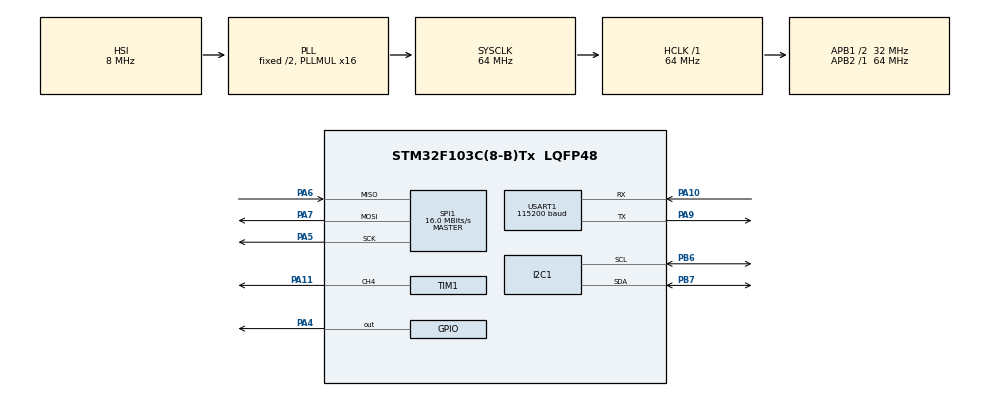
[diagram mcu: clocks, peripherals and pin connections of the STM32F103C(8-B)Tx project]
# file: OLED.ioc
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Dma.Request0=SPI1_RX
Dma.Request1=SPI1_TX
Dma.SPI1_RX.0.Direction=DMA_PERIPH_TO_MEMORY
Dma.SPI1_RX.0.Instance=DMA1_Channel2
Dma.SPI1_RX.0.MemDataAlignment=DMA_MDATAALIGN_BYTE
Dma.SPI1_RX.0.MemInc=DMA_MINC_ENABLE
Dma.SPI1_RX.0.Mode=DMA_NORMAL
Dma.SPI1_RX.0.PeriphDataAlignment=DMA_PDATAALIGN_BYTE
Dma.SPI1_RX.0.PeriphInc=DMA_PINC_DISABLE
Dma.SPI1_RX.0.Priority=DMA_PRIORITY_MEDIUM
Dma.SPI1_TX.1.Direction=DMA_MEMORY_TO_PERIPH
Dma.SPI1_TX.1.Instance=DMA1_Channel3
Dma.SPI1_TX.1.MemDataAlignment=DMA_MDATAALIGN_BYTE
Dma.SPI1_TX.1.MemInc=DMA_MINC_ENABLE
Dma.SPI1_TX.1.Mode=DMA_NORMAL
Dma.SPI1_TX.1.PeriphDataAlignment=DMA_PDATAALIGN_BYTE
Dma.SPI1_TX.1.PeriphInc=DMA_PINC_DISABLE
Dma.SPI1_TX.1.Priority=DMA_PRIORITY_MEDIUM
I2C1.I2C_Mode=I2C_Fast
Mcu.Family=STM32F1
Mcu.Name=STM32F103C(8-B)Tx
Mcu.Package=LQFP48
NVIC.DMA1_Channel2_IRQn=true\:1\:0\:true\:false\:true\:false\:true\:true
NVIC.DMA1_Channel3_IRQn=true\:1\:0\:true\:false\:true\:false\:true\:true
NVIC.PriorityGroup=NVIC_PRIORITYGROUP_4
NVIC.SPI1_IRQn=true\:1\:0\:true\:false\:true\:true\:true\:true
PA10.Mode=Asynchronous
PA10.Signal=USART1_RX
PA11.Signal=S_TIM1_CH4
PA13.Mode=Serial_Wire
PA13.Signal=SYS_JTMS-SWDIO
PA14.Mode=Serial_Wire
PA14.Signal=SYS_JTCK-SWCLK
PA4.GPIO_Speed=GPIO_SPEED_FREQ_HIGH
PA4.PinState=GPIO_PIN_SET
PA4.Signal=GPIO_Output
PA5.Mode=Full_Duplex_Master
PA5.Signal=SPI1_SCK
PA6.GPIO_PuPd=GPIO_PULLUP
PA6.Mode=Full_Duplex_Master
PA6.Signal=SPI1_MISO
PA7.Mode=Full_Duplex_Master
PA7.Signal=SPI1_MOSI
PA9.Mode=Asynchronous
PA9.Signal=USART1_TX
PB6.Mode=I2C
PB6.Signal=I2C1_SCL
PB7.Mode=I2C
PB7.Signal=I2C1_SDA
ProjectManager.HeapSize=0x200
ProjectManager.StackSize=0x400
ProjectManager.TargetToolchain=CMake
RCC.AHBFreq_Value=64000000
RCC.APB1CLKDivider=RCC_HCLK_DIV2
RCC.APB1Freq_Value=32000000
RCC.APB1TimFreq_Value=64000000
RCC.APB2Freq_Value=64000000
RCC.APB2TimFreq_Value=64000000
RCC.HCLKFreq_Value=64000000
RCC.PLLMUL=RCC_PLL_MUL16
RCC.SYSCLKFreq_VALUE=64000000
RCC.SYSCLKSource=RCC_SYSCLKSOURCE_PLLCLK
RCC.USBFreq_Value=64000000
SH.S_TIM1_CH4.0=TIM1_CH4,PWM Generation4 CH4
SPI1.BaudRatePrescaler=SPI_BAUDRATEPRESCALER_4
SPI1.CalculateBaudRate=16.0 MBits/s
SPI1.Direction=SPI_DIRECTION_2LINES
SPI1.Mode=SPI_MODE_MASTER
SPI1.VirtualType=VM_MASTER
TIM1.Channel-PWM\ Generation4\ CH4=TIM_CHANNEL_4
TIM1.Prescaler=63
USART1.BaudRate=115200
USART1.Mode=MODE_TX_RX
USART1.VirtualMode=VM_ASYNC
USART1.VirtualMode-Asynchronous=VM_ASYNC
VP_TIM1_VS_ClockSourceINT.Mode=Internal
board=custom

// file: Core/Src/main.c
/* USER CODE BEGIN Header */
/**
  ******************************************************************************
  * @file           : main.c
  * @brief          : Main program body
  ******************************************************************************
  * @attention
  *
  * Copyright (c) 2026 STMicroelectronics.
  * All rights reserved.
  *
  * This software is licensed under terms that can be found in the LICENSE file
  * in the root directory of this software component.
  * If no LICENSE file comes with this software, it is provided AS-IS.
  *
  ******************************************************************************
  */
/* USER CODE END Header */
#include "main.h"
#include "dma.h"
#include "i2c.h"
#include "spi.h"
#include "tim.h"
#include "usart.h"
#include "gpio.h"

/* USER CODE BEGIN Includes */
#include <stdbool.h>
#include <string.h>
#include "ssd1306.h"
#include "ssd1306_fonts.h"
#include "spif.h"
/* USER CODE END Includes */

/* USER CODE BEGIN PD */
#define VIDEO_FRAME_COUNT       744U
#define VIDEO_FRAME_SIZE        SSD1306_BUFFER_SIZE
#define VIDEO_DATA_ADDRESS      4096U
#define VIDEO_DATA_SIZE         (VIDEO_FRAME_COUNT * VIDEO_FRAME_SIZE)
#define VIDEO_HEADER_SIZE       16U
#define VIDEO_UPLOAD_TIMEOUT    10000U
#define VIDEO_FRAME_RATE        24U
#define INTRO_PAGE_DURATION_MS  2000U
_Static_assert((SSD1306_WIDTH == 128U) && (SSD1306_HEIGHT == 64U),
               "IKUN playback requires a 128x64 OLED");
/* USER CODE END PD */

/* USER CODE BEGIN PV */
static spif_t w25q64;
static uint8_t frame_buffer[SSD1306_BUFFER_SIZE];
static uint8_t flash_buffer[SPIF_PAGE_SIZE];
static char jedec_id_line[] = "JEDEC: 00 00 00";
static uint32_t current_frame;
static bool video_available;
static uint32_t frame_period_remainder;
static uint32_t frame_start;
static uint32_t frame_duration;
static const uint8_t upload_command[] = {'I', 'K', 'U', 'P'};
static const uint8_t intro_glyphs[2][6][32] = {
  {
    {0x20U, 0x02U, 0x70U, 0x0AU, 0x1EU, 0x12U, 0x10U, 0x12U, 0x10U, 0x02U, 0xFFU, 0x7FU, 0x10U, 0x02U, 0x10U, 0x22U, 0x50U, 0x22U, 0x30U, 0x12U, 0x18U, 0x0CU, 0x16U, 0x44U, 0x10U, 0x4AU, 0x10U, 0x51U, 0xD4U, 0x60U, 0x08U, 0x40U}, /* 我 */
    {0x00U, 0x00U, 0xFEU, 0x3FU, 0x00U, 0x01U, 0x00U, 0x01U, 0x80U, 0x00U, 0x80U, 0x00U, 0xC0U, 0x02U, 0xA0U, 0x04U, 0x90U, 0x08U, 0x88U, 0x10U, 0x84U, 0x20U, 0x82U, 0x20U, 0x81U, 0x00U, 0x80U, 0x00U, 0x80U, 0x00U, 0x80U, 0x00U}, /* 不 */
    {0x00U, 0x00U, 0xFEU, 0x3FU, 0x20U, 0x02U, 0x20U, 0x02U, 0xFCU, 0x1FU, 0x24U, 0x12U, 0x24U, 0x12U, 0xFCU, 0x1FU, 0x40U, 0x00U, 0xFEU, 0x3FU, 0x20U, 0x04U, 0x10U, 0x02U, 0x38U, 0x01U, 0xC0U, 0x01U, 0x60U, 0x0EU, 0x1CU, 0x10U}, /* 要 */
    {0x44U, 0x00U, 0x44U, 0x3EU, 0xFEU, 0x22U, 0x44U, 0x22U, 0x44U, 0x22U, 0x7CU, 0x3EU, 0x44U, 0x22U, 0x44U, 0x22U, 0x7CU, 0x22U, 0x44U, 0x3EU, 0x44U, 0x22U, 0xFFU, 0x22U, 0x20U, 0x21U, 0x44U, 0x21U, 0x82U, 0x28U, 0x41U, 0x10U}, /* 期 */
    {0x80U, 0x00U, 0x80U, 0x00U, 0x80U, 0x00U, 0x80U, 0x00U, 0xFCU, 0x1FU, 0x84U, 0x10U, 0x84U, 0x10U, 0x84U, 0x10U, 0x84U, 0x10U, 0x84U, 0x10U, 0xFCU, 0x1FU, 0x84U, 0x10U, 0x80U, 0x00U, 0x80U, 0x00U, 0x80U, 0x00U, 0x80U, 0x00U}, /* 中 */
    {0x40U, 0x00U, 0x40U, 0x10U, 0xFCU, 0x0BU, 0x40U, 0x04U, 0x40U, 0x02U, 0xFFU, 0x7FU, 0x80U, 0x00U, 0x40U, 0x00U, 0xF0U, 0x1FU, 0x48U, 0x00U, 0x24U, 0x00U, 0xE2U, 0x0FU, 0x01U, 0x08U, 0x00U, 0x08U, 0x00U, 0x05U, 0x00U, 0x02U}, /* 考 */
  },
  {
    {0x80U, 0x08U, 0x80U, 0x08U, 0xDEU, 0x3FU, 0x92U, 0x08U, 0x92U, 0x08U, 0x12U, 0x00U, 0x52U, 0x10U, 0x52U, 0x10U, 0x92U, 0x08U, 0x92U, 0x08U, 0x1EU, 0x05U, 0x12U, 0x02U, 0x00U, 0x05U, 0x80U, 0x08U, 0x40U, 0x10U, 0x30U, 0x60U}, /* 哎 */
    {0x00U, 0x04U, 0x80U, 0x04U, 0x8EU, 0x04U, 0x4AU, 0x04U, 0x4AU, 0x3FU, 0x2AU, 0x25U, 0xEAU, 0x24U, 0x8AU, 0x24U, 0x4AU, 0x24U, 0x4AU, 0x24U, 0x2EU, 0x25U, 0xE2U, 0x25U, 0x00U, 0x23U, 0x00U, 0x22U, 0x00U, 0x29U, 0x80U, 0x10U}, /* 呦 */
    {0x10U, 0x01U, 0x10U, 0x01U, 0x10U, 0x01U, 0x88U, 0x7FU, 0x88U, 0x40U, 0x4CU, 0x20U, 0x2CU, 0x04U, 0x0AU, 0x04U, 0x89U, 0x14U, 0x88U, 0x24U, 0x48U, 0x24U, 0x48U, 0x44U, 0x28U, 0x44U, 0x08U, 0x04U, 0x08U, 0x05U, 0x08U, 0x02U}, /* 你 */
    {0x00U, 0x00U, 0xFCU, 0x1FU, 0x80U, 0x00U, 0x80U, 0x00U, 0x80U, 0x00U, 0x80U, 0x00U, 0x80U, 0x00U, 0xFFU, 0x7FU, 0x80U, 0x00U, 0x80U, 0x00U, 0x80U, 0x00U, 0x80U, 0x00U, 0x80U, 0x00U, 0x80U, 0x00U, 0x80U, 0x00U, 0x80U, 0x00U}, /* 干 */
    {0x00U, 0x02U, 0x00U, 0x04U, 0xEFU, 0x7FU, 0x29U, 0x09U, 0x29U, 0x09U, 0x29U, 0x09U, 0xE9U, 0x3FU, 0x29U, 0x09U, 0x29U, 0x1BU, 0xA9U, 0x1DU, 0xAFU, 0x2DU, 0x69U, 0x2BU, 0x10U, 0x49U, 0x10U, 0x09U, 0x08U, 0x09U, 0x00U, 0x09U}, /* 嘛 */
    {0x00U, 0x00U, 0x00U, 0x00U, 0x00U, 0x00U, 0x9CU, 0x00U, 0x62U, 0x00U, 0x00U, 0x00U, 0x00U, 0x00U, 0x00U, 0x00U, 0x00U, 0x00U, 0x00U, 0x00U, 0x00U, 0x00U, 0x00U, 0x00U, 0x00U, 0x00U, 0x00U, 0x00U, 0x00U, 0x00U, 0x00U, 0x00U}, /* ~ */
  }
};

/* USER CODE END PV */

void SystemClock_Config(void);

/* USER CODE BEGIN 0 */
static void Flash_Log(char *line1, char *line2, char *line3)
{
  ssd1306_Fill(Black);
  ssd1306_SetCursor(0, 0);
  ssd1306_WriteString(line1, Font_6x8, White);
  ssd1306_SetCursor(0, 16);
  ssd1306_WriteString(line2, Font_6x8, White);
  ssd1306_SetCursor(0, 32);
  ssd1306_WriteString(line3, Font_6x8, White);
  ssd1306_UpdateScreen();
}

static void Flash_LogError(char *stage, spif_err_t error)
{
  char error_line[] = "SPIF error: 0";
  error_line[12] = (char)('0' + error);
  Flash_Log(stage, error_line, jedec_id_line);
}

static void Flash_FormatJedecId(const uint8_t *id)
{
  static const char hex_digits[] = "0123456789ABCDEF";
  const uint8_t positions[] = {7U, 10U, 13U};
  uint32_t i;

  for (i = 0U; i < 3U; i++)
  {
    jedec_id_line[positions[i]] = hex_digits[id[i] >> 4];
    jedec_id_line[positions[i] + 1U] = hex_digits[id[i] & 0x0FU];
  }
}

static uint32_t Video_ReadLe32(const uint8_t *data)
{
  return ((uint32_t)data[0]) |
         ((uint32_t)data[1] << 8) |
         ((uint32_t)data[2] << 16) |
         ((uint32_t)data[3] << 24);
}

static void Video_WriteLe32(uint8_t *data, uint32_t value)
{
  data[0] = (uint8_t)value;
  data[1] = (uint8_t)(value >> 8);
  data[2] = (uint8_t)(value >> 16);
  data[3] = (uint8_t)(value >> 24);
}

static uint32_t Video_Crc32Update(uint32_t crc, const uint8_t *data, uint32_t len)
{
  uint32_t i;
  uint32_t bit;

  for (i = 0U; i < len; i++)
  {
    crc ^= data[i];
    for (bit = 0U; bit < 8U; bit++)
    {
      crc = (crc & 1U) ? ((crc >> 1) ^ 0xEDB88320UL) : (crc >> 1);
    }
  }

  return crc;
}

static HAL_StatusTypeDef W25Q_ReadJedecId(uint8_t *id)
{
  uint8_t command = 0x9FU;
  HAL_StatusTypeDef status;

  HAL_GPIO_WritePin(GPIOA, GPIO_PIN_4, GPIO_PIN_SET);
  HAL_GPIO_WritePin(GPIOA, GPIO_PIN_4, GPIO_PIN_RESET);
  status = HAL_SPI_Transmit(&hspi1, &command, 1U, 100U);
  if (status == HAL_OK)
  {
    status = HAL_SPI_Receive(&hspi1, id, 3U, 100U);
  }
  HAL_GPIO_WritePin(GPIOA, GPIO_PIN_4, GPIO_PIN_SET);

  return status;
}

static bool W25Q_Init(void)
{
  spif_err_t result;
  HAL_StatusTypeDef spi_status;
  uint8_t jedec_id[3] = {0U, 0U, 0U};

  HAL_Delay(120U);

  spi_status = W25Q_ReadJedecId(jedec_id);
  Flash_FormatJedecId(jedec_id);
  if (spi_status != HAL_OK)
  {
    Flash_Log("JEDEC SPI read fail", "Check SPI/CS wiring", jedec_id_line);
    return false;
  }

  result = spif_init(&w25q64, &hspi1, GPIOA, GPIO_PIN_4);
  if ((result != SPIF_ERR_NONE) || (w25q64.size == 0U))
  {
    Flash_LogError("Flash init failed", result);
    return false;
  }

  if ((w25q64.manufacturer != SPIF_MANUFACTURER_WINBOND) ||
      (w25q64.memory_type != 0x40U) ||
      (w25q64.size != 0x00800000UL) ||
      (w25q64.sector_size == 0U) ||
      ((VIDEO_DATA_ADDRESS + VIDEO_DATA_SIZE) > w25q64.size))
  {
    Flash_Log("Unexpected flash", "Expected W25Q64", jedec_id_line);
    return false;
  }

  return true;
}

static bool Video_ReadHeader(void)
{
  uint8_t header[VIDEO_HEADER_SIZE];
  spif_err_t result;

  result = spif_read(&w25q64, 0U, header, sizeof(header));
  if (result != SPIF_ERR_NONE)
  {
    Flash_LogError("Video header read", result);
    return false;
  }

  return (memcmp(header, "IKUN", 4U) == 0) &&
         (Video_ReadLe32(&header[4]) == VIDEO_DATA_SIZE) &&
         (Video_ReadLe32(&header[12]) == VIDEO_FRAME_COUNT);
}

static bool Video_SendStatus(const uint8_t *status, uint16_t len)
{
  return HAL_UART_Transmit(&huart1, (uint8_t *)status, len, 1000U) == HAL_OK;
}

static bool Video_Upload(void)
{
  static const uint8_t ready_status[] = {'R', 'D', 'Y', '!'};
  static const uint8_t size_error[] = {'S', 'I', 'Z', 'E'};
  static const uint8_t data_status[] = {'D', 'A', 'T', 'A'};
  static const uint8_t pass_status[] = {'P', 'A', 'S', 'S'};
  static const uint8_t fail_status[] = {'F', 'A', 'I', 'L'};
  static const uint8_t ack = 0x06U;
  static const uint8_t nak = 0x15U;
  uint8_t metadata[8];
  uint8_t header[VIDEO_HEADER_SIZE] = {0U};
  uint8_t header_verify[VIDEO_HEADER_SIZE];
  uint32_t expected_size;
  uint32_t expected_crc;
  uint32_t received_crc = 0xFFFFFFFFUL;
  uint32_t verify_crc = 0xFFFFFFFFUL;
  uint32_t offset;
  uint32_t sector;
  uint32_t sector_count;
  uint32_t data_end = VIDEO_DATA_ADDRESS + VIDEO_DATA_SIZE;
  spif_err_t result;

  if (!Video_SendStatus(ready_status, sizeof(ready_status)) ||
      (HAL_UART_Receive(&huart1, metadata, sizeof(metadata), 3000U) != HAL_OK))
  {
    return false;
  }

  expected_size = Video_ReadLe32(metadata);
  expected_crc = Video_ReadLe32(&metadata[4]);
  if ((expected_size != VIDEO_DATA_SIZE) ||
      (w25q64.sector_size == 0U) ||
      (data_end > w25q64.size))
  {
    (void)Video_SendStatus(size_error, sizeof(size_error));
    return false;
  }

  sector_count = (data_end + w25q64.sector_size - 1U) / w25q64.sector_size;
  Flash_Log("Uploading IKUN", "Erasing video sectors", "Please wait...");
  for (sector = 0U; sector < sector_count; sector++)
  {
    result = spif_erase_sector(&w25q64, sector);
    if (result != SPIF_ERR_NONE)
    {
      Flash_LogError("Video erase failed", result);
      (void)Video_SendStatus(fail_status, sizeof(fail_status));
      return false;
    }
  }

  if (!Video_SendStatus(data_status, sizeof(data_status)))
  {
    return false;
  }

  for (offset = 0U; offset < VIDEO_DATA_SIZE; offset += SPIF_PAGE_SIZE)
  {
    if (HAL_UART_Receive(&huart1, flash_buffer, SPIF_PAGE_SIZE,
                         VIDEO_UPLOAD_TIMEOUT) != HAL_OK)
    {
      (void)Video_SendStatus(fail_status, sizeof(fail_status));
      return false;
    }

    received_crc = Video_Crc32Update(received_crc, flash_buffer, SPIF_PAGE_SIZE);
    result = spif_write(&w25q64, VIDEO_DATA_ADDRESS + offset,
                        flash_buffer, SPIF_PAGE_SIZE);
    if (result != SPIF_ERR_NONE)
    {
      (void)HAL_UART_Transmit(&huart1, (uint8_t *)&nak, 1U, 1000U);
      Flash_LogError("Video write failed", result);
      return false;
    }
    if (HAL_UART_Transmit(&huart1, (uint8_t *)&ack, 1U, 1000U) != HAL_OK)
    {
      return false;
    }
  }

  received_crc ^= 0xFFFFFFFFUL;
  if (received_crc != expected_crc)
  {
    (void)Video_SendStatus(fail_status, sizeof(fail_status));
    Flash_Log("Video CRC failed", "Upload data mismatch", "");
    return false;
  }

  for (offset = 0U; offset < VIDEO_DATA_SIZE; offset += SPIF_PAGE_SIZE)
  {
    result = spif_read(&w25q64, VIDEO_DATA_ADDRESS + offset,
                       flash_buffer, SPIF_PAGE_SIZE);
    if (result != SPIF_ERR_NONE)
    {
      Flash_LogError("Video verify read", result);
      (void)Video_SendStatus(fail_status, sizeof(fail_status));
      return false;
    }
    verify_crc = Video_Crc32Update(verify_crc, flash_buffer, SPIF_PAGE_SIZE);
  }

  verify_crc ^= 0xFFFFFFFFUL;
  if (verify_crc != expected_crc)
  {
    (void)Video_SendStatus(fail_status, sizeof(fail_status));
    Flash_Log("Video verify failed", "Flash CRC mismatch", "");
    return false;
  }

  memcpy(header, "IKUN", 4U);
  Video_WriteLe32(&header[4], VIDEO_DATA_SIZE);
  Video_WriteLe32(&header[8], expected_crc);
  Video_WriteLe32(&header[12], VIDEO_FRAME_COUNT);
  result = spif_write(&w25q64, 0U, header, sizeof(header));
  if (result != SPIF_ERR_NONE)
  {
    Flash_LogError("Video header write", result);
    (void)Video_SendStatus(fail_status, sizeof(fail_status));
    return false;
  }

  result = spif_read(&w25q64, 0U, header_verify, sizeof(header_verify));
  if ((result != SPIF_ERR_NONE) ||
      (memcmp(header, header_verify, sizeof(header)) != 0))
  {
    Flash_Log("Video header verify", "Flash write failed", "");
    (void)Video_SendStatus(fail_status, sizeof(fail_status));
    return false;
  }

  Flash_Log("Video upload done", "Starting playback", "");
  return Video_SendStatus(pass_status, sizeof(pass_status));
}

static bool Video_PlayFrame(uint32_t frame)
{
  uint32_t address = VIDEO_DATA_ADDRESS + (frame * VIDEO_FRAME_SIZE);
  spif_err_t result = spif_read(&w25q64, address, frame_buffer, sizeof(frame_buffer));

  if (result != SPIF_ERR_NONE)
  {
    Flash_LogError("Frame read failed", result);
    return false;
  }

  if (ssd1306_FillBuffer(frame_buffer, sizeof(frame_buffer)) != SSD1306_OK)
  {
    Flash_Log("Frame buffer error", "Check OLED config", "");
    return false;
  }

  ssd1306_UpdateScreen();
  return true;
}

static void Video_ShowIntroPage(uint8_t page)
{
  uint8_t character;
  uint8_t y;

  ssd1306_Fill(Black);
  for (character = 0U; character < 6U; character++)
  {
    for (y = 0U; y < 16U; y++)
    {
      uint8_t column;

      for (column = 0U; column < 16U; column++)
      {
        uint8_t bitmap_byte =
          intro_glyphs[page][character][(y * 2U) + (column / 8U)];

        if ((bitmap_byte & (uint8_t)(1U << (column % 8U))) != 0U)
        {
          ssd1306_DrawPixel((uint8_t)(16U + (character * 16U) + column),
                            (uint8_t)(24U + y), White);
        }
      }
    }
  }

  ssd1306_UpdateScreen();
  HAL_Delay(INTRO_PAGE_DURATION_MS);
}

static void Video_ShowIntro(void)
{
  Video_ShowIntroPage(0U);
  Video_ShowIntroPage(1U);
}

/* USER CODE END 0 */

int main(void)
{

  /* MCU Configuration--------------------------------------------------------*/

  /* Reset of all peripherals, Initializes the Flash interface and the Systick. */
  HAL_Init();

  /* Configure the system clock */
  SystemClock_Config();

  /* Initialize all configured peripherals */
  MX_GPIO_Init();
  MX_DMA_Init();
  MX_I2C1_Init();
  MX_SPI1_Init();
  MX_USART1_UART_Init();
  MX_TIM1_Init();
  /* USER CODE BEGIN 2 */
  if (HAL_TIM_PWM_Start(&htim1, TIM_CHANNEL_4) != HAL_OK)
  {
    Error_Handler();
  }
  HAL_Delay(1000U);
  __HAL_TIM_SET_COMPARE(&htim1, TIM_CHANNEL_4, 0U);

  ssd1306_Init();
  if (!W25Q_Init())
  {
    while (1)
    {
      HAL_Delay(1000U);
    }
  }
  current_frame = 0U;
  video_available = Video_ReadHeader();
  if (video_available)
  {
    Video_ShowIntro();
  }
  else
  {
    Flash_Log("No video in W25Q", "Send IKUP via UART", "115200 8N1");
  }
  /* USER CODE END 2 */

  /* Infinite loop */
  while (1)
  {

    /* USER CODE BEGIN 3 */
    uint8_t command[sizeof(upload_command)];

    frame_start = HAL_GetTick();
    if ((HAL_UART_Receive(&huart1, command, sizeof(command), 1U) == HAL_OK) &&
        (memcmp(command, upload_command, sizeof(upload_command)) == 0))
    {
      if (Video_Upload())
      {
        video_available = Video_ReadHeader();
        current_frame = 0U;
        if (video_available)
        {
          Video_ShowIntro();
          frame_period_remainder = 0U;
          frame_start = HAL_GetTick();
        }
      }
      else
      {
        video_available = Video_ReadHeader();
      }
    }

    if (video_available)
    {
      frame_duration = 1000U / VIDEO_FRAME_RATE;
      frame_period_remainder += 1000U % VIDEO_FRAME_RATE;
      if (frame_period_remainder >= VIDEO_FRAME_RATE)
      {
        frame_period_remainder -= VIDEO_FRAME_RATE;
        frame_duration++;
      }

      if (Video_PlayFrame(current_frame))
      {
        current_frame = (current_frame + 1U) % VIDEO_FRAME_COUNT;
        if ((HAL_GetTick() - frame_start) < frame_duration)
        {
          HAL_Delay(frame_duration - (HAL_GetTick() - frame_start));
        }
      }
      else
      {
        video_available = false;
      }
    }
    else
    {
      HAL_Delay(100U);
    }
  }
  /* USER CODE END 3 */
}

void SystemClock_Config(void)
{
  RCC_OscInitTypeDef RCC_OscInitStruct = {0};
  RCC_ClkInitTypeDef RCC_ClkInitStruct = {0};

  /** Initializes the RCC Oscillators according to the specified parameters
  * in the RCC_OscInitTypeDef structure.
  */
  RCC_OscInitStruct.OscillatorType = RCC_OSCILLATORTYPE_HSI;
  RCC_OscInitStruct.HSIState = RCC_HSI_ON;
  RCC_OscInitStruct.HSICalibrationValue = RCC_HSICALIBRATION_DEFAULT;
  RCC_OscInitStruct.PLL.PLLState = RCC_PLL_ON;
  RCC_OscInitStruct.PLL.PLLSource = RCC_PLLSOURCE_HSI_DIV2;
  RCC_OscInitStruct.PLL.PLLMUL = RCC_PLL_MUL16;
  if (HAL_RCC_OscConfig(&RCC_OscInitStruct) != HAL_OK)
  {
    Error_Handler();
  }

  /** Initializes the CPU, AHB and APB buses clocks
  */
  RCC_ClkInitStruct.ClockType = RCC_CLOCKTYPE_HCLK|RCC_CLOCKTYPE_SYSCLK
                              |RCC_CLOCKTYPE_PCLK1|RCC_CLOCKTYPE_PCLK2;
  RCC_ClkInitStruct.SYSCLKSource = RCC_SYSCLKSOURCE_PLLCLK;
  RCC_ClkInitStruct.AHBCLKDivider = RCC_SYSCLK_DIV1;
  RCC_ClkInitStruct.APB1CLKDivider = RCC_HCLK_DIV2;
  RCC_ClkInitStruct.APB2CLKDivider = RCC_HCLK_DIV1;

  if (HAL_RCC_ClockConfig(&RCC_ClkInitStruct, FLASH_LATENCY_2) != HAL_OK)
  {
    Error_Handler();
  }
}

void Error_Handler(void)
{
  __disable_irq();
  while (1)
  {
  }
}
